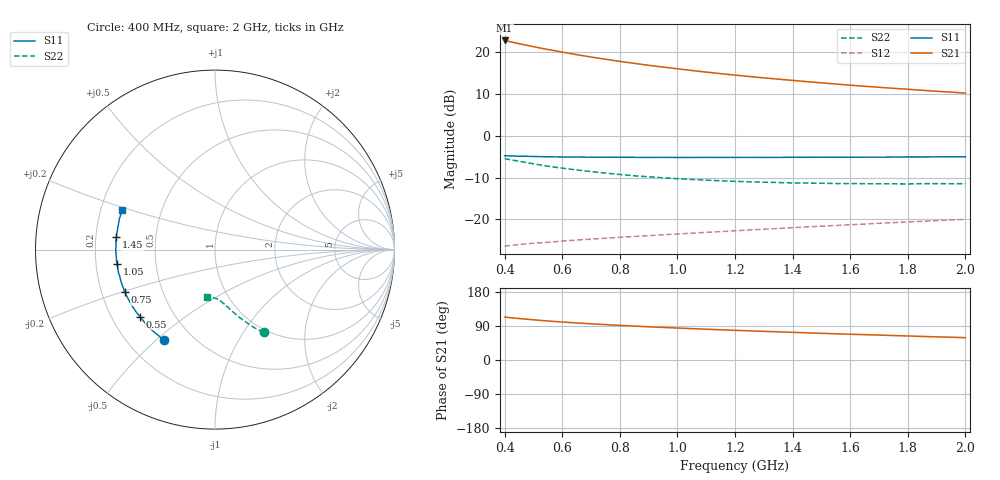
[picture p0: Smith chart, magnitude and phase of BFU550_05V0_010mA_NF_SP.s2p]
! Filename:  P:\Prog\Test\Noise\ATS_data\Testdata_Net\06 Compressed Noise after Statistics\BFU550_APG2013_43_D05_05p0V_010mA_NF_CM01_D.sf
! Date/Time: Fri 26/Apr/2013 13:07:21
! BFU550_APG2013_43_D05_05p0V_1to35mA_NF_CM01_Bias5_R.sf
! Noise Parameter Data File
! BFU550_APG2013_43_D05_05p0V_1to35mA_NF_CM01
! Date/time: Thu Apr 25 16:23:08 2013
! VAR V_out= 5.001000
! VAR I_out= 10.000000
! VAR V_in= 0.825400
! VAR I_in= 0.109205
! Device data file deembeded for feedlines and parallel
! Original file: \06 Compressed Noise after Statistics\BFU550_APG2013_43_D05_05p0V_010mA_NF_CM01_R.sf
! Feed-files: PR047V01_250413_Feed1.s2p, PR047V01_250413_Feed2.s2p
! Parallel-file: PR047V01_250413_Par.s2p
# MHz S MA R 50
!  Freq-MHz  S11-mag  S11-arg  S21-mag  S21-arg  S12-mag  S12-arg  S22-mag  S22-arg
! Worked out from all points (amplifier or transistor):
!   37 points, 400 MHz to 2 GHz, reference 50 ohm
!   highest |S21| = 22.8 dB at 400 MHz (marker M1)
!   |S21| within 3 dB of that: start of sweep to 617.9 MHz
!   unconditionally stable (mu >= 1): 1.713 GHz to end of sweep
!   at 500 MHz: K = 0.49, MSG = 23.5 dB, |S12| = -25.7 dB
!   at 1.1 GHz: K = 0.83, MSG = 19.2 dB, |S12| = -23.1 dB
!   at 2 GHz: K = 1.04, MAG = 13.8 dB, |S12| = -20.0 dB
!   lowest NFmin = 0.74 dB at 440 MHz
!   S11 on the Smith chart (normalised r, x): 400 MHz: 0.35, -0.53; 550 MHz: 0.32, -0.35; 750 MHz: 0.30, -0.20; 1.05 GHz: 0.29, -0.07; 1.45 GHz: 0.29, +0.06; 2 GHz: 0.29, +0.19
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400  0.5775 -119.2  13.85 113.3  0.04783 46.0  0.5339 -59.4
433  0.5727 -124.0  13.06 110.7  0.04931 45.1  0.5079 -61.5
460  0.5701 -127.6  12.46 108.8  0.05041 44.5  0.4896 -63.1
480  0.569 -130.1  12.06 107.4  0.05114 44.1  0.4753 -64.1
500  0.5664 -132.5  11.67 106.1  0.05183 43.8  0.4631 -65.1
550  0.5614 -138.3  10.8 102.9  0.05327 43.3  0.433 -67.3
600  0.5593 -142.9  10.05 100.2  0.05505 43.0  0.4107 -69.4
650  0.5577 -147.4  9.376 97.8  0.05661 42.8  0.3909 -71.2
700  0.5558 -151.0  8.781 95.5  0.05807 42.8  0.3733 -72.6
750  0.5554 -154.8  8.259 93.4  0.05959 42.8  0.3587 -74.2
800  0.5538 -158.0  7.792 91.4  0.06103 43.0  0.345 -75.7
850  0.5533 -161.1  7.37 89.5  0.06244 43.2  0.3327 -76.9
900  0.5513 -164.1  6.988 87.7  0.06392 43.5  0.3235 -78.2
950  0.5529 -166.6  6.654 86.0  0.06541 43.8  0.3147 -79.3
1050  0.5512 -171.7  6.056 82.7  0.0684 44.4  0.301 -81.5
1200  0.5523 -178.1  5.332 78.3  0.07305 45.2  0.2859 -84.5
1300  0.5519 178.2  4.941 75.6  0.07629 45.8  0.2788 -86.4
1450  0.5537 172.7  4.45 71.7  0.08129 46.5  0.2723 -89.1
1500  0.5552 171.2  4.306 70.4  0.08296 46.7  0.2709 -90.1
1600  0.5549 167.8  4.036 67.9  0.0862 47.0  0.2686 -91.8
1750  0.5571 163.4  3.701 64.5  0.09141 47.4  0.2666 -94.6
2000  0.5613 156.9  3.245 59.0  0.09997 47.9  0.268 -99.0
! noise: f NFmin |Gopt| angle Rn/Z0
400  0.7582  0.1025  148.9  0.0837
460  0.7557  0.1097  161  0.0774
600  0.7604  0.1352  160  0.0731
800  0.8144  0.166  164.4  0.07
1000  0.8325  0.2009  164.4  0.0655
1200  0.8714  0.221  168.3  0.0662
1400  0.8973  0.2641  172.3  0.0608
1600  0.9538  0.2861  179.3  0.0588
1800  0.9349  0.3109  -177.9  0.0571
2000  1.014  0.3221  -175.5  0.0639
